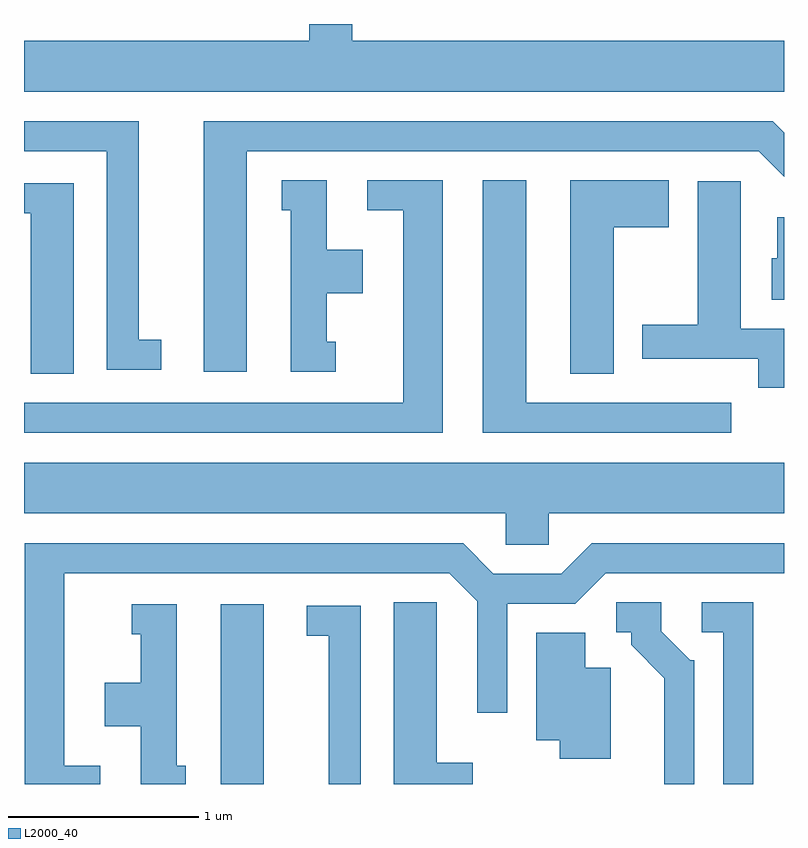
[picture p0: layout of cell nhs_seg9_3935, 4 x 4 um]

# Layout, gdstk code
import gdstk
lib = gdstk.Library(unit=1e-6, precision=1e-09)
def R(c, l, rs):  # rectangles x0, y0, x1, y1
    for r in rs: c.add(gdstk.rectangle(r[:2], r[2:], *l))
def P(c, l, *ps):  # polygons
    for p in ps: c.add(gdstk.Polygon(p, *l))
L2000_40 = (2000, 40)

nhs_seg9_3935 = lib.new_cell('nhs_seg9_3935')
R(nhs_seg9_3935, L2000_40, [(302.646,1950.432,302.874,1951.379)])
P(nhs_seg9_3935, L2000_40, [(305.611,1954.344),(303.339,1954.344),(303.339,1954.432),(303.111,1954.432),(303.111,1954.344),(301.611,1954.344),(301.611,1954.076),(305.611,1954.076)],
  [(302.784,1953.761),(305.479,1953.761),(305.611,1953.629),(305.611,1953.86),(305.552,1953.919),(302.556,1953.919),(302.556,1952.601),(302.784,1952.601)],
  [(302.333,1952.769),(302.214,1952.769),(302.214,1953.919),(301.611,1953.919),(301.611,1953.761),(302.046,1953.761),(302.046,1952.611),(302.333,1952.611)],
  [(303.253,1952.759),(303.204,1952.759),(303.204,1953.016),(303.394,1953.016),(303.394,1953.244),(303.204,1953.244),(303.204,1953.609),(302.968,1953.609),(302.968,1953.451),(303.016,1953.451),(303.016,1952.601),(303.253,1952.601)],
  [(305.333,1952.439),(304.254,1952.439),(304.254,1953.609),(304.026,1953.609),(304.026,1952.281),(305.333,1952.281)],
  [(304.714,1953.361),(305.004,1953.361),(305.004,1953.609),(304.486,1953.609),(304.486,1952.591),(304.714,1952.591)],
  [(303.814,1953.609),(303.418,1953.609),(303.418,1953.451),(303.606,1953.451),(303.606,1952.439),(301.611,1952.439),(301.611,1952.281),(303.814,1952.281)],
  [(305.611,1952.829),(305.384,1952.829),(305.384,1953.604),(305.156,1953.604),(305.156,1952.849),(304.866,1952.849),(304.866,1952.671),(305.476,1952.671),(305.476,1952.518),(305.611,1952.518)],
  [(301.874,1953.594),(301.611,1953.594),(301.611,1953.436),(301.646,1953.436),(301.646,1952.591),(301.874,1952.591)],
  [(305.611,1953.414),(305.576,1953.414),(305.576,1953.199),(305.546,1953.199),(305.546,1952.981),(305.611,1952.981)],
  [(304.374,1951.856),(305.611,1951.856),(305.611,1952.124),(301.611,1952.124),(301.611,1951.856),(304.146,1951.856),(304.146,1951.691),(304.374,1951.691)],
  [(302.013,1950.529),(301.824,1950.529),(301.824,1951.541),(303.849,1951.541),(303.996,1951.394),(303.996,1950.808),(304.154,1950.808),(304.154,1951.381),(304.512,1951.381),(304.672,1951.541),(305.611,1951.541),(305.611,1951.699),(304.599,1951.699),(304.439,1951.539),(304.082,1951.539),(303.922,1951.699),(301.616,1951.699),(301.616,1950.432),(302.013,1950.432)],
  [(305.449,1951.389),(305.178,1951.389),(305.178,1951.231),(305.291,1951.231),(305.291,1950.432),(305.449,1950.432)],
  [(305.139,1951.084),(305.117,1951.084),(304.964,1951.237),(304.964,1951.389),(304.728,1951.389),(304.728,1951.231),(304.806,1951.231),(304.806,1951.164),(304.981,1950.989),(304.981,1950.432),(305.139,1950.432)],
  [(303.973,1950.544),(303.784,1950.544),(303.784,1951.389),(303.556,1951.389),(303.556,1950.432),(303.973,1950.432)],
  [(302.463,1950.529),(302.414,1950.529),(302.414,1951.379),(302.178,1951.379),(302.178,1951.221),(302.226,1951.221),(302.226,1950.964),(302.036,1950.964),(302.036,1950.736),(302.226,1950.736),(302.226,1950.432),(302.463,1950.432)],
  [(303.384,1951.369),(303.098,1951.369),(303.098,1951.211),(303.216,1951.211),(303.216,1950.432),(303.384,1950.432)],
  [(304.699,1951.044),(304.564,1951.044),(304.564,1951.229),(304.306,1951.229),(304.306,1950.661),(304.431,1950.661),(304.431,1950.566),(304.699,1950.566)])

lib.write_gds('nhs_seg9_3935.gds')
